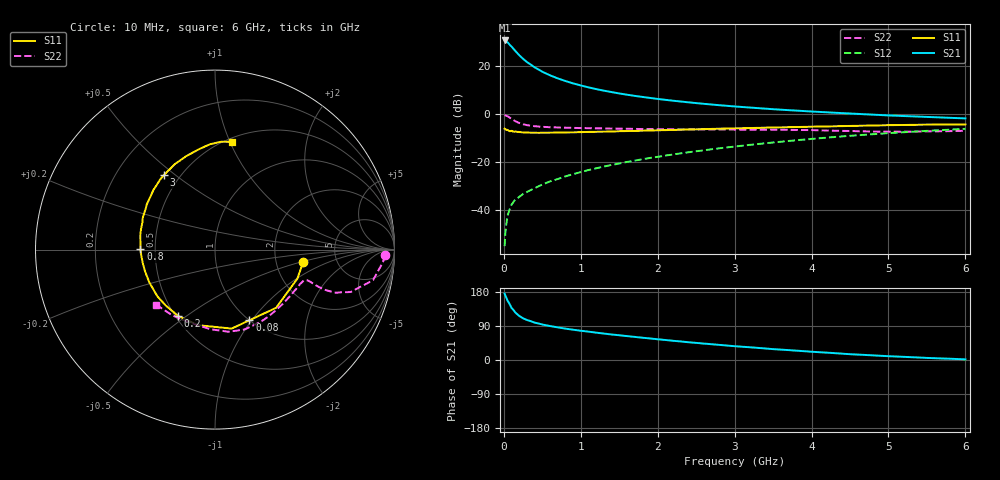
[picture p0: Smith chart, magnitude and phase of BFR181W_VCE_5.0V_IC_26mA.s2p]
! (c) 2017  Infineon Technologies AG, Munich
! Infineon Technologies  Discrete & RF Semiconductors
! BFR181W
! VCE =  5.0 V,  IC =  26 mA
! Common Emitter S-Parameters:  Jan 2017
# GHz  S  MA  R  50
!  f  S11  S21  S12  S22
! GHz  MAG  ANG  MAG  ANG  MAG  ANG  MAG  ANG
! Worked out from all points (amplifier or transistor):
!   77 points, 10 MHz to 6 GHz, reference 50 ohm
!   highest |S21| = 30.6 dB at 10 MHz (marker M1)
!   |S21| within 3 dB of that: start of sweep to 112.9 MHz
!   unconditionally stable (mu >= 1): 416.3 MHz to 2.484 GHz
!   at 130 MHz: K = 0.52, MSG = 31.6 dB, |S12| = -36.3 dB
!   at 2.2 GHz: K = 1.04, MAG = 9.9 dB, |S12| = -16.8 dB
!   at 6 GHz: K = 0.87, MSG = 2.2 dB, |S12| = -6.2 dB
!   S11 on the Smith chart (normalised r, x): 10 MHz: 2.85, -0.53; 80 MHz: 1.00, -0.97; 200 MHz: 0.52, -0.46; 800 MHz: 0.41, +0.00; 3 GHz: 0.41, +0.46; 6 GHz: 0.54, +1.02
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0.01  0.4957 -8.2  33.71 175.3  0.0018 88.7  0.9469 -1.9
0.02  0.4866 -19.4  33.09 169.8  0.0034 92.5  0.9387 -4.2
0.05  0.4703 -43.6  30.78 156.0  0.0078 75.3  0.8972 -10.9
0.08  0.438 -64.0  27.08 145.7  0.0109 68.3  0.8335 -14.5
0.1  0.4497 -78.1  25.21 137.4  0.0131 65.5  0.7931 -17.3
0.15  0.4318 -102.8  20.36 125.1  0.0167 63.2  0.708 -19.8
0.2  0.4227 -119.3  16.65 116.3  0.019 60.7  0.6506 -20.1
0.25  0.4151 -131.6  13.99 110.1  0.0219 61.3  0.6137 -19.8
0.3  0.4133 -140.9  12 105.5  0.024 61.0  0.5877 -19.3
0.4  0.4091 -153.6  9.314 98.6  0.0288 66.2  0.5584 -18.6
0.5  0.4082 -162.8  7.553 93.6  0.0343 68.7  0.5422 -18.4
0.6  0.4094 -169.7  6.37 89.6  0.0398 69.8  0.532 -18.6
0.7  0.4121 -175.3  5.499 86.1  0.0446 72.7  0.5254 -19.1
0.8  0.4153 179.6  4.851 82.8  0.0507 74.2  0.5197 -20.0
1.1  0.4248 168.4  3.581 74.8  0.0686 76.5  0.5086 -23.3
1.5  0.4395 156.5  2.674 65.3  0.0936 77.5  0.4958 -29.1
2.1  0.4628 141.9  1.971 52.8  0.1369 76.9  0.482 -40.3
3  0.5038 124.3  1.436 36.4  0.2108 72.3  0.4748 -59.4
3.1  0.5072 122.4  1.399 35.0  0.2198 71.4  0.4736 -61.4
4.1  0.5487 105.3  1.106 20.6  0.3134 62.5  0.4583 -83.0
5.1  0.5893 91.8  0.922 9.2  0.4093 51.5  0.4291 -111.0
6  0.6081 80.9  0.811 1.7  0.4921 40.8  0.4488 -136.6
